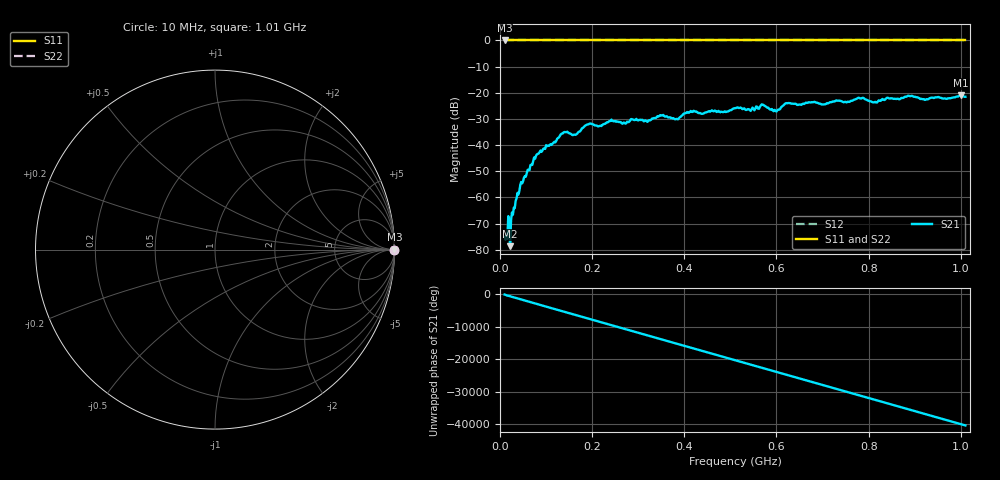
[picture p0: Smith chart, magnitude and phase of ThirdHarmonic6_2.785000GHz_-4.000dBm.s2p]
! 8/17/2025 7:09:53 AM
! C:\ANRITSUVNA\TEMP\TEMP.S2P
! CHANNEL.1
! TR.MEASUREMENT
! RAW.DATA
! RF.CORRECTION.OFF
! AVERAGING.OFF
! IF.BANDWIDTH: 5KHZ
! SWEEPTYPE:  FREQ.SWEEP(Linear)
! Reference Plane Port Info
! PORT:  PORT1  PORT2
! DISTANCE:  0  m  0  m
! TIME:  0  s  0  s
! PHASE.OFFSET:  0  deg.  0  deg.
! LOSS:  0  dB  0  dB
! REF.LOSS:  0  dB  0  dB
! REF.FREQ:  0  Hz  0  Hz
! Power Info
! POWER:  -20  dBm  -20  dBm
! EFF.POWER:  -20  dBm  -20  dBm
! SOURCE.ATTEN:  0  dB  0  dB
! TEST.ATTEN:  0  dB  0  dB
# GHZ S RI R 50.0
! FREQ.GHZ  S11RE  S11IM  S21RE  S21IM  S12RE  S12IM  S22RE  S22IM
!; PortSelection: Port_12
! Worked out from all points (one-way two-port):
!   501 points, 10 MHz to 1.01 GHz, reference 50 ohm
!   highest |S21| = -20.91 dB at 1 GHz (marker M1); lowest = -78.6 dB at 22 MHz (marker M2)
!   lowest |S11| = 0.0 dB at 10 MHz (marker M3)
!   |S11| at or under -10 dB: nowhere
!   |S22| runs from 0.0 to 0.0 dB; largest |S21 - S12| = 1.1
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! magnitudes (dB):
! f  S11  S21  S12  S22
! 10 MHz  0.0  -75.2  0.0  0.0
! 18 MHz  0.0  -67.1  0.0  0.0
! 22 MHz  0.0  -78.6  0.0  0.0
! 42 MHz  0.0  -57.6  0.0  0.0
! 78 MHz  0.0  -44.2  0.0  0.0
! 136 MHz  0.0  -35.6  0.0  0.0
! 162 MHz  0.0  -36.0  0.0  0.0
! 178 MHz  0.0  -33.5  0.0  0.0
! 194 MHz  0.0  -31.8  0.0  0.0
! 322 MHz  0.0  -30.7  0.0  0.0
! 344 MHz  0.0  -29.1  0.0  0.0
! 384 MHz  0.0  -30.0  0.0  0.0
! 416 MHz  0.0  -27.3  0.0  0.0
! 510 MHz  0.0  -25.9  0.0  0.0
! 570 MHz  0.0  -24.5  0.0  0.0
! 598 MHz  0.0  -26.9  0.0  0.0
! 622 MHz  0.0  -23.9  0.0  0.0
! 678 MHz  0.0  -23.6  0.0  0.0
! 814 MHz  0.0  -23.5  0.0  0.0
! 844 MHz  0.0  -22.1  0.0  0.0
! 1 GHz  0.0  -20.9  0.0  0.0
! 1.01 GHz  0.0  -21.5  0.0  0.0
